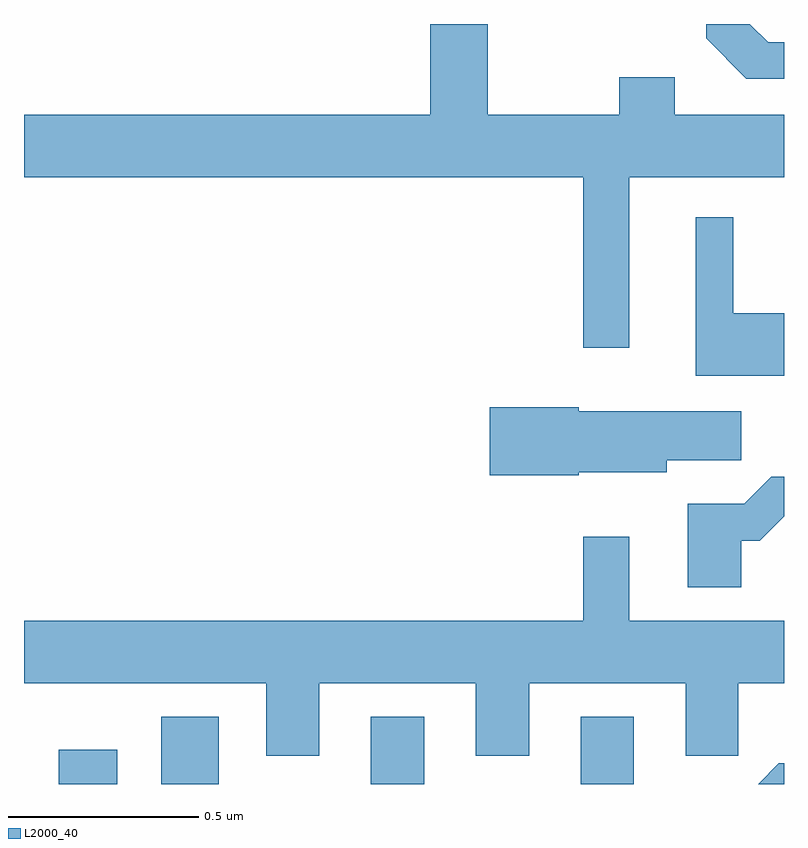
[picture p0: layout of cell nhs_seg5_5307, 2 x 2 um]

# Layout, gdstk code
import gdstk
lib = gdstk.Library(unit=1e-6, precision=1e-09)
def R(c, l, rs):  # rectangles x0, y0, x1, y1
    for r in rs: c.add(gdstk.rectangle(r[:2], r[2:], *l))
def P(c, l, *ps):  # polygons
    for p in ps: c.add(gdstk.Polygon(p, *l))
L2000_40 = (2000, 40)

nhs_seg5_5307 = lib.new_cell('nhs_seg5_5307')
R(nhs_seg5_5307, L2000_40, [(181.091,885.799,181.246,885.889), (181.361,885.799,181.513,885.976), (181.913,885.799,182.053,885.976), (182.465,885.799,182.605,885.976)])
P(nhs_seg5_5307, L2000_40, [(182.593,887.396),(183,887.396),(183,887.56),(182.713,887.56),(182.713,887.659),(182.566,887.659),(182.566,887.56),(182.221,887.56),(182.221,887.799),(182.069,887.799),(182.069,887.56),(181,887.56),(181,887.396),(182.472,887.396),(182.472,886.947),(182.593,886.947)],
  [(183,887.751),(182.958,887.751),(182.91,887.799),(182.796,887.799),(182.796,887.761),(182.901,887.655),(183,887.655)],
  [(183,887.038),(182.866,887.038),(182.866,887.29),(182.768,887.29),(182.768,886.874),(183,886.874)],
  [(182.46,886.619),(182.692,886.619),(182.692,886.651),(182.887,886.651),(182.887,886.78),(182.46,886.78),(182.46,886.79),(182.226,886.79),(182.226,886.612),(182.46,886.612)],
  [(182.887,886.439),(182.936,886.439),(183,886.503),(183,886.607),(182.966,886.607),(182.896,886.537),(182.747,886.537),(182.747,886.317),(182.887,886.317)],
  [(181.777,886.064),(182.189,886.064),(182.189,885.874),(182.329,885.874),(182.329,886.064),(182.741,886.064),(182.741,885.874),(182.88,885.874),(182.88,886.064),(183,886.064),(183,886.228),(182.593,886.228),(182.593,886.45),(182.472,886.45),(182.472,886.228),(181,886.228),(181,886.064),(181.637,886.064),(181.637,885.874),(181.777,885.874)],
  [(183,885.853),(182.986,885.853),(182.932,885.799),(183,885.799)])

lib.write_gds('nhs_seg5_5307.gds')
